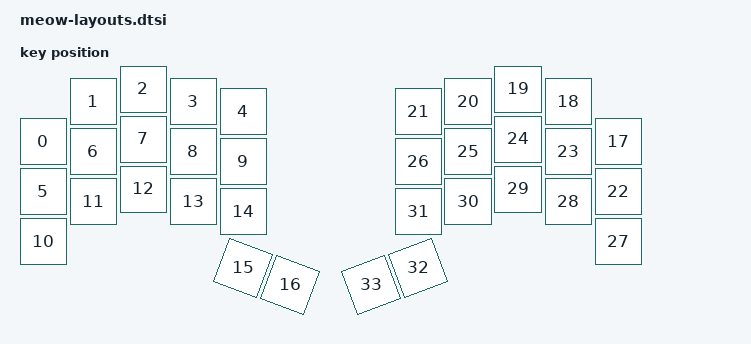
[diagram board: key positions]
#include <physical_layouts.dtsi>

/ {
    physical_layout_meow: physical_layout_meow {
        compatible = "zmk,physical-layout";
        display-name = "meow";
        keys  //                     w   h    x    y     rot    rx    ry
            = <&key_physical_attrs 100 100   (-25)  105       0   (-25)   105>
            , <&key_physical_attrs 100 100    75   25       0    75    25>
            , <&key_physical_attrs 100 100   175    0       0   175     0>
            , <&key_physical_attrs 100 100   275   25       0   275    25>
            , <&key_physical_attrs 100 100   375   45       0   375    45>
            , <&key_physical_attrs 100 100   (-25)  205       0   (-25)   205>
            , <&key_physical_attrs 100 100    75  125       0    75   125>
            , <&key_physical_attrs 100 100   175  100       0   175   100>
            , <&key_physical_attrs 100 100   275  125       0   275   125>
            , <&key_physical_attrs 100 100   375  145       0   375   145>
            , <&key_physical_attrs 100 100   (-25)  305       0   (-25)   305>
            , <&key_physical_attrs 100 100    75  225       0    75   225>
            , <&key_physical_attrs 100 100   175  200       0   175   200>
            , <&key_physical_attrs 100 100   275  225       0   275   225>
            , <&key_physical_attrs 100 100   375  245       0   375   245>
            , <&key_physical_attrs 100 100   375  358    2000   425   408>
            , <&key_physical_attrs 100 100   469  392    2000   519   442>
            , <&key_physical_attrs 100 100  1125  105       0  1125   105>
            , <&key_physical_attrs 100 100  1025   25       0  1025    25>
            , <&key_physical_attrs 100 100   925    0       0   925     0>
            , <&key_physical_attrs 100 100   825   25       0   825    25>
            , <&key_physical_attrs 100 100   725   45       0   725    45>
            , <&key_physical_attrs 100 100  1125  205       0  1125   205>
            , <&key_physical_attrs 100 100  1025  125       0  1025   125>
            , <&key_physical_attrs 100 100   925  100       0   925   100>
            , <&key_physical_attrs 100 100   825  125       0   825   125>
            , <&key_physical_attrs 100 100   725  145       0   725   145>
            , <&key_physical_attrs 100 100  1125  305       0  1125   305>
            , <&key_physical_attrs 100 100  1025  225       0  1025   225>
            , <&key_physical_attrs 100 100   925  200       0   925   200>
            , <&key_physical_attrs 100 100   825  225       0   825   225>
            , <&key_physical_attrs 100 100   725  245       0   725   245>
            , <&key_physical_attrs 100 100   725  358    (-2000)   775   408>
            , <&key_physical_attrs 100 100   631  392    (-2000)   681   442>
            ;
    };
};
